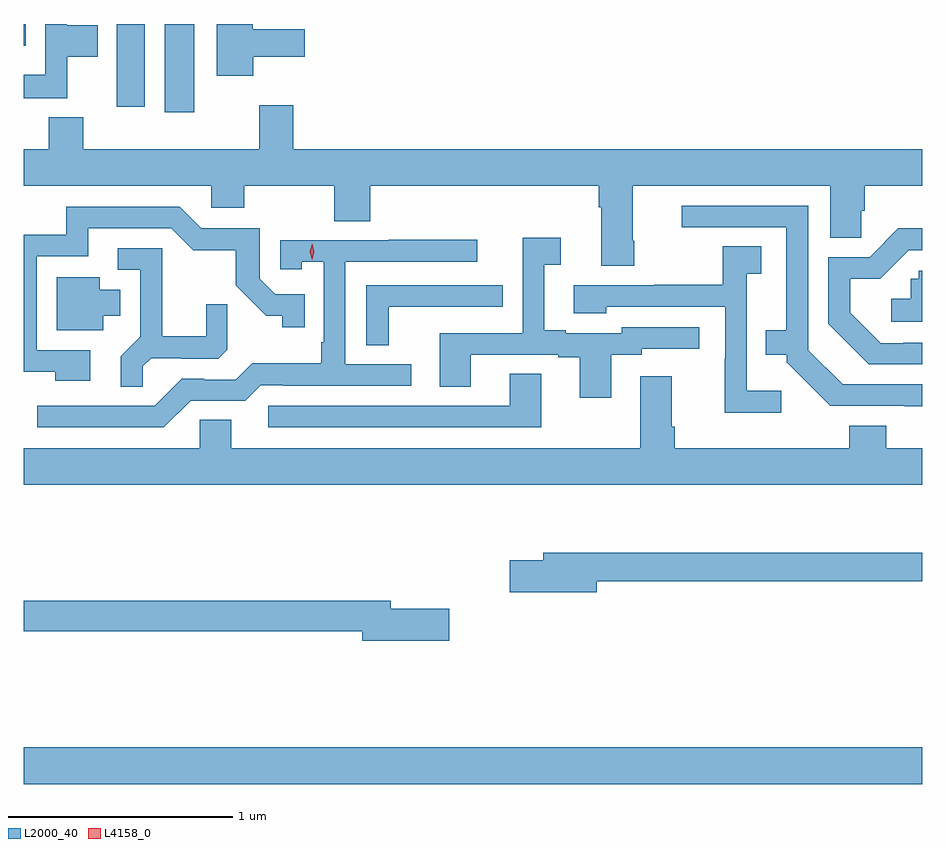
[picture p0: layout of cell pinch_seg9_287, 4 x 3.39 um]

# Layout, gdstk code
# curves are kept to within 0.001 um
import gdstk
lib = gdstk.Library(unit=1e-6, precision=1e-09)
def R(c, l, rs):  # rectangles x0, y0, x1, y1
    for r in rs: c.add(gdstk.rectangle(r[:2], r[2:], *l))
def P(c, l, *ps):  # polygons
    for p in ps: c.add(gdstk.Polygon(p, *l))
L2000_40 = (2000, 40)
L4158_0 = (4158, 0)

pinch_seg9_287 = lib.new_cell('pinch_seg9_287')
R(pinch_seg9_287, L2000_40, [(480.41,1187.096,484.41,1187.26), (481.037,1190.088,481.168,1190.481), (480.824,1190.112,480.949,1190.481), (480.41,1190.384,480.419,1190.481)])
P(pinch_seg9_287, L2000_40, [(480.603,1190.336),(480.739,1190.336),(480.739,1190.476),(480.6,1190.476),(480.6,1190.481),(480.504,1190.481),(480.504,1190.254),(480.41,1190.254),(480.41,1190.15),(480.603,1190.15)],
  [(481.432,1190.336),(481.66,1190.336),(481.66,1190.458),(481.43,1190.458),(481.43,1190.481),(481.268,1190.481),(481.268,1190.25),(481.432,1190.25)],
  [(483.129,1189.516),(483.121,1189.516),(483.121,1189.76),(484.001,1189.76),(484.001,1189.528),(484.139,1189.528),(484.139,1189.65),(484.154,1189.65),(484.154,1189.76),(484.41,1189.76),(484.41,1189.924),(481.61,1189.924),(481.61,1190.119),(481.457,1190.119),(481.457,1189.924),(480.674,1189.924),(480.674,1190.065),(480.521,1190.065),(480.521,1189.924),(480.41,1189.924),(480.41,1189.76),(481.245,1189.76),(481.245,1189.662),(481.392,1189.662),(481.392,1189.76),(481.792,1189.76),(481.792,1189.603),(481.952,1189.603),(481.952,1189.76),(482.969,1189.76),(482.969,1189.664),(482.981,1189.664),(482.981,1189.404),(483.129,1189.404)],
  [(484.41,1188.876),(484.056,1188.876),(483.903,1189.029),(483.903,1189.671),(483.339,1189.671),(483.339,1189.575),(483.806,1189.575),(483.806,1189.117),(483.715,1189.117),(483.715,1189.007),(483.807,1189.007),(483.807,1188.975),(484.002,1188.78),(484.41,1188.779)],
  [(480.706,1189.029),(480.468,1189.029),(480.468,1189.446),(480.697,1189.446),(480.697,1189.572),(481.065,1189.572),(481.164,1189.474),(481.353,1189.474),(481.353,1189.318),(481.49,1189.181),(481.56,1189.181),(481.56,1189.131),(481.661,1189.131),(481.661,1189.278),(481.53,1189.278),(481.461,1189.347),(481.461,1189.572),(481.2,1189.572),(481.104,1189.668),(480.599,1189.668),(480.599,1189.542),(480.41,1189.542),(480.41,1188.933),(480.55,1188.933),(480.55,1188.893),(480.706,1188.893)],
  [(484.41,1189.062),(484.327,1189.062),(484.327,1189.059),(484.227,1189.059),(484.09,1189.196),(484.09,1189.346),(484.223,1189.346),(484.35,1189.473),(484.41,1189.473),(484.41,1189.571),(484.304,1189.571),(484.176,1189.443),(483.993,1189.443),(483.993,1189.145),(484.172,1188.966),(484.41,1188.966)],
  [(483.025,1189.008),(483.162,1189.008),(483.162,1189.035),(483.418,1189.035),(483.418,1189.131),(483.072,1189.131),(483.072,1189.104),(482.824,1189.104),(482.824,1189.117),(482.728,1189.117),(482.728,1189.408),(482.8,1189.408),(482.8,1189.528),(482.631,1189.528),(482.631,1189.104),(482.261,1189.104),(482.261,1188.865),(482.401,1188.865),(482.401,1189.008),(482.789,1189.008),(482.789,1188.996),(482.885,1188.996),(482.885,1188.816),(483.025,1188.816)],
  [(481.152,1188.804),(481.395,1188.804),(481.464,1188.873),(481.564,1188.873),(481.564,1188.87),(482.134,1188.87),(482.134,1188.966),(481.842,1188.966),(481.842,1189.422),(482.428,1189.422),(482.428,1189.521),(482.035,1189.521),(482.035,1189.518),(481.551,1189.518),(481.551,1189.389),(481.647,1189.389),(481.647,1189.421),(481.746,1189.421),(481.746,1189.063),(481.734,1189.063),(481.734,1188.97),(481.426,1188.97),(481.353,1188.897),(481.214,1188.897),(481.214,1188.9),(481.113,1188.9),(480.993,1188.78),(480.47,1188.78),(480.47,1188.684),(481.032,1188.684)],
  [(483.784,1188.847),(483.63,1188.847),(483.63,1189.369),(483.694,1189.369),(483.694,1189.49),(483.522,1189.49),(483.522,1189.32),(483.217,1189.32),(483.217,1189.317),(482.859,1189.317),(482.859,1189.193),(483.003,1189.193),(483.003,1189.221),(483.534,1189.221),(483.534,1188.989),(483.532,1188.989),(483.532,1188.749),(483.784,1188.749)],
  [(480.939,1188.956),(480.976,1188.993),(481.11,1188.993),(481.11,1188.99),(481.275,1188.99),(481.316,1189.031),(481.316,1189.233),(481.222,1189.233),(481.222,1189.09),(481.025,1189.09),(481.025,1189.482),(480.828,1189.482),(480.828,1189.386),(480.927,1189.386),(480.927,1189.087),(480.841,1189.001),(480.841,1188.865),(480.939,1188.865)],
  [(484.41,1189.383),(484.395,1189.383),(484.395,1189.347),(484.359,1189.347),(484.359,1189.258),(484.272,1189.258),(484.272,1189.155),(484.41,1189.155)],
  [(480.763,1189.181),(480.838,1189.181),(480.838,1189.297),(480.748,1189.297),(480.748,1189.354),(480.557,1189.354),(480.557,1189.118),(480.763,1189.118)],
  [(482.034,1189.221),(482.429,1189.221),(482.429,1189.222),(482.542,1189.222),(482.542,1189.317),(481.935,1189.317),(481.935,1189.051),(482.034,1189.051)],
  [(482.713,1188.923),(482.573,1188.923),(482.573,1188.78),(481.497,1188.78),(481.497,1188.684),(482.713,1188.684)],
  [(484.41,1188.592),(484.25,1188.592),(484.25,1188.691),(484.085,1188.691),(484.085,1188.592),(483.308,1188.592),(483.308,1188.688),(483.295,1188.688),(483.295,1188.913),(483.155,1188.913),(483.155,1188.592),(481.333,1188.592),(481.333,1188.719),(481.194,1188.719),(481.194,1188.592),(480.41,1188.592),(480.41,1188.428),(484.41,1188.428)],
  [(482.962,1187.998),(484.41,1187.998),(484.41,1188.127),(482.723,1188.127),(482.723,1188.093),(482.574,1188.093),(482.574,1187.951),(482.962,1187.951)],
  [(482.305,1187.876),(482.044,1187.876),(482.044,1187.912),(480.41,1187.912),(480.41,1187.776),(481.916,1187.776),(481.916,1187.734),(482.305,1187.734)])
P(pinch_seg9_287, L4158_0, [(481.693,1189.431),(481.693,1189.431),(481.683,1189.467),(481.693,1189.502),(481.693,1189.503),(481.693,1189.502),(481.703,1189.467),(481.693,1189.431)])

lib.write_gds('pinch_seg9_287.gds')
